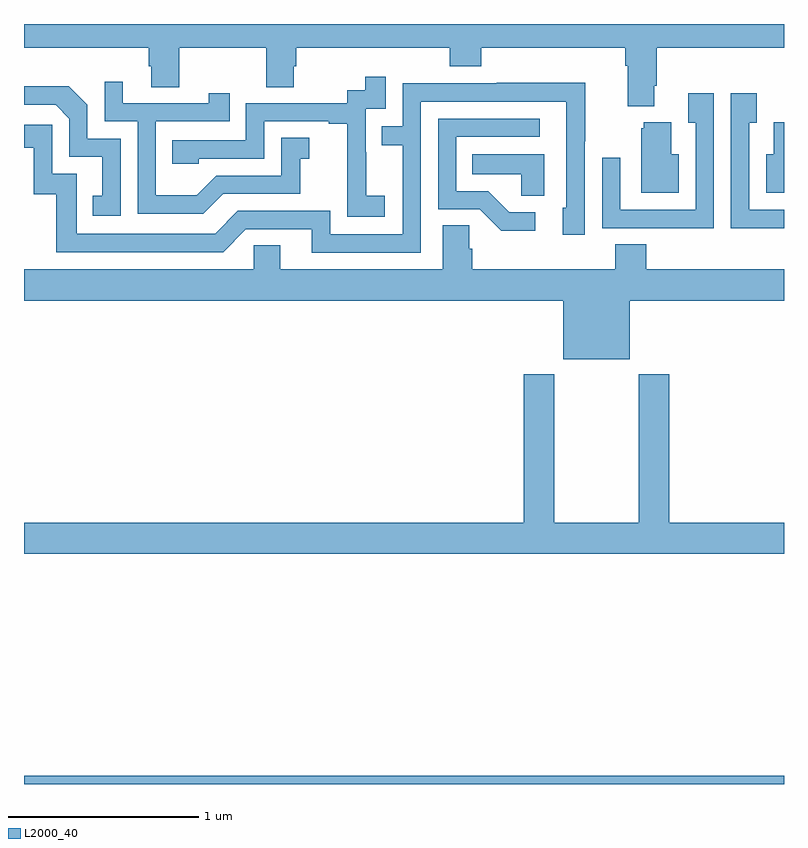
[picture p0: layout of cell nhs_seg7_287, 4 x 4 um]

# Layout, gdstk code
import gdstk
lib = gdstk.Library(unit=1e-6, precision=1e-09)
def R(c, l, rs):  # rectangles x0, y0, x1, y1
    for r in rs: c.add(gdstk.rectangle(r[:2], r[2:], *l))
def P(c, l, *ps):  # polygons
    for p in ps: c.add(gdstk.Polygon(p, *l))
L2000_40 = (2000, 40)

nhs_seg7_287 = lib.new_cell('nhs_seg7_287')
R(nhs_seg7_287, L2000_40, [(131,1070,135,1070.044)])
P(nhs_seg7_287, L2000_40, [(134.317,1073.674),(134.33,1073.674),(134.33,1073.876),(135,1073.876),(135,1074),(131,1074),(131,1073.876),(131.657,1073.876),(131.657,1073.778),(131.669,1073.778),(131.669,1073.668),(131.817,1073.668),(131.817,1073.876),(132.274,1073.876),(132.274,1073.668),(132.421,1073.668),(132.421,1073.778),(132.434,1073.778),(132.434,1073.876),(133.241,1073.876),(133.241,1073.777),(133.406,1073.777),(133.406,1073.876),(134.165,1073.876),(134.165,1073.78),(134.177,1073.78),(134.177,1073.567),(134.317,1073.567)],
  [(132.898,1073.095),(132.8,1073.095),(132.8,1073.324),(132.798,1073.324),(132.798,1073.553),(132.903,1073.553),(132.903,1073.722),(132.795,1073.722),(132.795,1073.652),(132.702,1073.652),(132.702,1073.583),(132.168,1073.583),(132.168,1073.388),(131.779,1073.388),(131.779,1073.265),(131.919,1073.265),(131.919,1073.292),(132.264,1073.292),(132.264,1073.487),(132.605,1073.487),(132.605,1073.475),(132.701,1073.475),(132.701,1073.191),(132.7,1073.191),(132.7,1072.985),(132.898,1072.985)],
  [(132.049,1073.106),(132.453,1073.106),(132.453,1073.291),(132.502,1073.291),(132.502,1073.401),(132.354,1073.401),(132.354,1073.202),(132.012,1073.202),(131.908,1073.098),(131.694,1073.098),(131.694,1073.487),(132.083,1073.487),(132.083,1073.635),(131.972,1073.635),(131.972,1073.583),(131.521,1073.583),(131.521,1073.695),(131.424,1073.695),(131.424,1073.487),(131.598,1073.487),(131.598,1073.001),(131.944,1073.001)],
  [(133.089,1073.592),(133.854,1073.592),(133.854,1073.034),(133.835,1073.034),(133.835,1072.89),(133.95,1072.89),(133.95,1073.383),(133.953,1073.383),(133.953,1073.69),(133.489,1073.69),(133.489,1073.688),(132.993,1073.688),(132.993,1073.463),(132.883,1073.463),(132.883,1073.362),(132.993,1073.362),(132.993,1072.893),(132.612,1072.893),(132.612,1073.016),(132.126,1073.016),(132.006,1072.896),(131.277,1072.896),(131.277,1073.211),(131.148,1073.211),(131.148,1073.47),(131,1073.47),(131,1073.349),(131.051,1073.349),(131.051,1073.103),(131.169,1073.103),(131.169,1072.8),(132.048,1072.8),(132.168,1072.92),(132.515,1072.92),(132.515,1072.797),(133.089,1072.797)],
  [(131.508,1073.397),(131.334,1073.397),(131.334,1073.574),(131.236,1073.672),(131,1073.672),(131,1073.574),(131.166,1073.574),(131.238,1073.502),(131.238,1073.301),(131.411,1073.301),(131.411,1073.097),(131.362,1073.097),(131.362,1072.992),(131.508,1072.992)],
  [(134.631,1073.635),(134.495,1073.635),(134.495,1073.479),(134.535,1073.479),(134.535,1073.022),(134.139,1073.022),(134.139,1073.296),(134.043,1073.296),(134.043,1072.926),(134.359,1072.926),(134.359,1072.925),(134.631,1072.925)],
  [(134.993,1072.926),(135,1072.926),(135,1073.022),(134.817,1073.022),(134.817,1073.479),(134.857,1073.479),(134.857,1073.635),(134.721,1073.635),(134.721,1072.925),(134.993,1072.925)],
  [(133.69,1073.01),(133.555,1073.01),(133.444,1073.121),(133.275,1073.121),(133.275,1073.406),(133.714,1073.406),(133.714,1073.502),(133.179,1073.502),(133.179,1073.025),(133.398,1073.025),(133.511,1072.913),(133.69,1072.913)],
  [(135,1073.482),(134.945,1073.482),(134.945,1073.314),(134.906,1073.314),(134.906,1073.111),(135,1073.111)],
  [(134.446,1073.314),(134.407,1073.314),(134.407,1073.482),(134.261,1073.482),(134.261,1073.451),(134.249,1073.451),(134.249,1073.111),(134.446,1073.111)],
  [(133.738,1073.314),(133.36,1073.314),(133.36,1073.21),(133.617,1073.21),(133.617,1073.095),(133.738,1073.095)],
  [(134.188,1072.544),(135,1072.544),(135,1072.708),(134.276,1072.708),(134.276,1072.841),(134.111,1072.841),(134.111,1072.708),(133.358,1072.708),(133.358,1072.817),(133.344,1072.817),(133.344,1072.94),(133.205,1072.94),(133.205,1072.708),(132.349,1072.708),(132.349,1072.835),(132.21,1072.835),(132.21,1072.708),(131,1072.708),(131,1072.544),(133.838,1072.544),(133.838,1072.235),(134.188,1072.235)],
  [(135,1071.376),(134.396,1071.376),(134.396,1072.156),(134.236,1072.156),(134.236,1071.376),(133.791,1071.376),(133.791,1072.156),(133.631,1072.156),(133.631,1071.376),(131,1071.376),(131,1071.212),(135,1071.212)])

lib.write_gds('nhs_seg7_287.gds')
